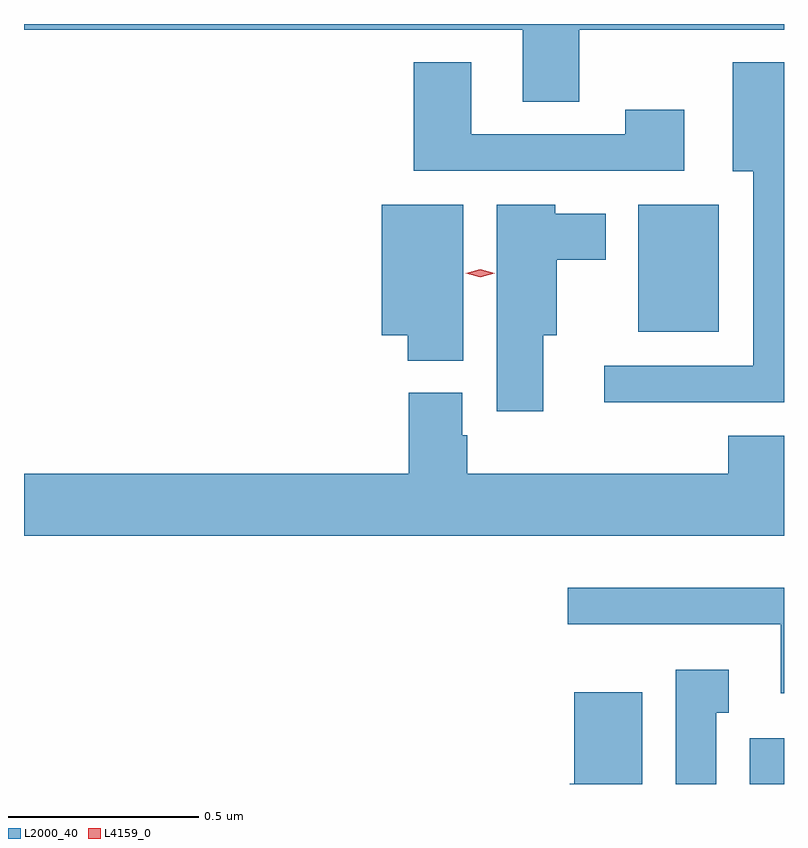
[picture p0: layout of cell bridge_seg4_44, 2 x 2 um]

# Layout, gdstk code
import gdstk
lib = gdstk.Library(unit=1e-6, precision=1e-09)
def R(c, l, rs):  # rectangles x0, y0, x1, y1
    for r in rs: c.add(gdstk.rectangle(r[:2], r[2:], *l))
def P(c, l, *ps):  # polygons
    for p in ps: c.add(gdstk.Polygon(p, *l))
L2000_40 = (2000, 40)
L4159_0 = (4159, 0)

bridge_seg4_44 = lib.new_cell('bridge_seg4_44')
R(bridge_seg4_44, L2000_40, [(677.738,761.535,677.828,761.656), (677.444,762.725,677.656,763.06)])
P(bridge_seg4_44, L2000_40, [(677.289,763.52),(677.828,763.52),(677.828,763.535),(675.828,763.535),(675.828,763.52),(677.141,763.52),(677.141,763.33),(677.289,763.33)],
  [(677.828,763.435),(677.693,763.435),(677.693,763.148),(677.747,763.148),(677.747,762.636),(677.355,762.636),(677.355,762.539),(677.828,762.539)],
  [(677.566,763.309),(677.41,763.309),(677.41,763.245),(677.005,763.245),(677.005,763.435),(676.853,763.435),(676.853,763.149),(677.566,763.149)],
  [(677.194,762.716),(677.23,762.716),(677.23,762.914),(677.359,762.914),(677.359,763.036),(677.226,763.036),(677.226,763.06),(677.072,763.06),(677.072,762.516),(677.194,762.516)],
  [(676.984,763.06),(676.769,763.06),(676.769,762.716),(676.838,762.716),(676.838,762.649),(676.984,762.649)],
  [(677.828,762.451),(677.681,762.451),(677.681,762.352),(676.994,762.352),(676.994,762.453),(676.981,762.453),(676.981,762.564),(676.841,762.564),(676.841,762.352),(675.828,762.352),(675.828,762.188),(677.828,762.188)],
  [(677.828,762.052),(677.259,762.052),(677.259,761.955),(677.819,761.955),(677.819,761.774),(677.828,761.774)],
  [(677.65,761.723),(677.683,761.723),(677.683,761.836),(677.543,761.836),(677.543,761.535),(677.65,761.535)],
  [(677.455,761.776),(677.276,761.776),(677.276,761.536),(677.264,761.536),(677.264,761.535),(677.455,761.535)])
P(bridge_seg4_44, L4159_0, [(677.029,762.869),(676.991,762.879),(676.991,762.879),(676.991,762.879),(677.029,762.889),(677.067,762.879),(677.067,762.879),(677.067,762.879)])

lib.write_gds('bridge_seg4_44.gds')
